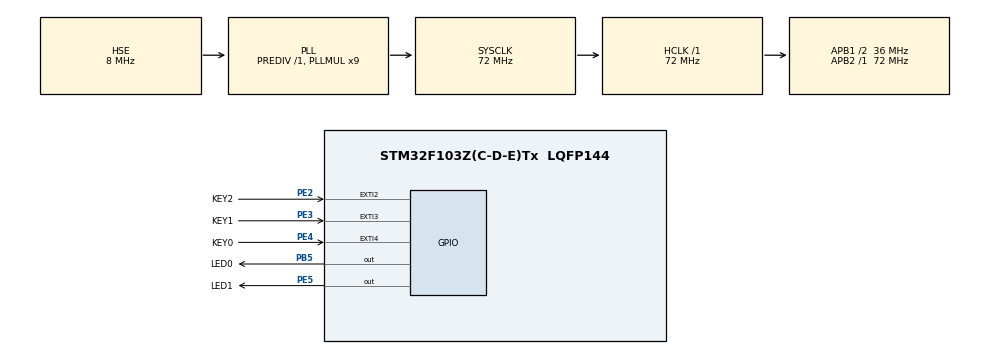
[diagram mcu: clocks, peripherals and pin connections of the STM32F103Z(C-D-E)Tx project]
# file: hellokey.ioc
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Mcu.Family=STM32F1
Mcu.Name=STM32F103Z(C-D-E)Tx
Mcu.Package=LQFP144
NVIC.EXTI2_IRQn=true\:0\:0\:false\:false\:true\:true\:true\:true
NVIC.EXTI3_IRQn=true\:0\:0\:false\:false\:true\:true\:true\:true
NVIC.EXTI4_IRQn=true\:0\:0\:false\:false\:true\:true\:true\:true
NVIC.PriorityGroup=NVIC_PRIORITYGROUP_4
OSC_IN.Mode=HSE-External-Oscillator
OSC_IN.Signal=RCC_OSC_IN
OSC_OUT.Mode=HSE-External-Oscillator
OSC_OUT.Signal=RCC_OSC_OUT
PA13.Mode=Serial_Wire
PA13.Signal=SYS_JTMS-SWDIO
PA14.Mode=Serial_Wire
PA14.Signal=SYS_JTCK-SWCLK
PB5.GPIO_Label=LED0
PB5.PinState=GPIO_PIN_SET
PB5.Signal=GPIO_Output
PC14-OSC32_IN.Mode=LSE-External-Oscillator
PC14-OSC32_IN.Signal=RCC_OSC32_IN
PC15-OSC32_OUT.Mode=LSE-External-Oscillator
PC15-OSC32_OUT.Signal=RCC_OSC32_OUT
PE2.GPIO_Label=KEY2
PE2.GPIO_ModeDefaultEXTI=GPIO_MODE_IT_FALLING
PE2.Signal=GPXTI2
PE3.GPIO_Label=KEY1
PE3.Signal=GPXTI3
PE4.GPIO_Label=KEY0
PE4.Signal=GPXTI4
PE5.GPIO_Label=LED1
PE5.PinState=GPIO_PIN_SET
PE5.Signal=GPIO_Output
ProjectManager.HeapSize=0x200
ProjectManager.StackSize=0x400
ProjectManager.TargetToolchain=Makefile
RCC.AHBFreq_Value=72000000
RCC.APB1CLKDivider=RCC_HCLK_DIV2
RCC.APB1Freq_Value=36000000
RCC.APB1TimFreq_Value=72000000
RCC.APB2Freq_Value=72000000
RCC.APB2TimFreq_Value=72000000
RCC.HCLKFreq_Value=72000000
RCC.PLLMUL=RCC_PLL_MUL9
RCC.PLLSourceVirtual=RCC_PLLSOURCE_HSE
RCC.SYSCLKFreq_VALUE=72000000
RCC.SYSCLKSource=RCC_SYSCLKSOURCE_PLLCLK
RCC.USBFreq_Value=72000000
board=custom

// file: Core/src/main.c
/* USER CODE BEGIN Header */
/**
  ******************************************************************************
  * @file           : main.c
  * @brief          : Main program body
  ******************************************************************************
  * @attention
  *
  * Copyright (c) 2025 STMicroelectronics.
  * All rights reserved.
  *
  * This software is licensed under terms that can be found in the LICENSE file
  * in the root directory of this software component.
  * If no LICENSE file comes with this software, it is provided AS-IS.
  *
  ******************************************************************************
  */
/* USER CODE END Header */
#include "main.h"
#include "gpio.h"

/* USER CODE BEGIN Includes */
#include "led.h"
#include "key.h"
#include "stm32f1xx_hal.h"
/* USER CODE END Includes */

void SystemClock_Config(void);

/* USER CODE BEGIN 0 */
  void HAL_GPIO_EXTI_Callback(uint16_t GPIO_Pin)
  {
      if (GPIO_Pin == KEY0_Pin)
      {
          LED0_on();
      }
      else if (GPIO_Pin == KEY1_Pin)
      {
          LED1_on();
      }
      else if (GPIO_Pin == KEY2_Pin)
      {
          LED0_off();
          LED1_off();
      }
  }

/* USER CODE END 0 */

int main(void)
{

  /* MCU Configuration--------------------------------------------------------*/

  /* Reset of all peripherals, Initializes the Flash interface and the Systick. */
  HAL_Init();

  /* Configure the system clock */
  SystemClock_Config();

  /* Initialize all configured peripherals */
  MX_GPIO_Init();
  /* USER CODE BEGIN 2 */
  LedCtrlTypeDef led_ctrl = {
      .state = LED_STATE_OFF,
      .last_tick = 0
  };

  /* USER CODE END 2 */

  /* Infinite loop */
  while (1)
  {

  }
}
void SystemClock_Config(void)
{
  RCC_OscInitTypeDef RCC_OscInitStruct = {0};
  RCC_ClkInitTypeDef RCC_ClkInitStruct = {0};

  /** Initializes the RCC Oscillators according to the specified parameters
  * in the RCC_OscInitTypeDef structure.
  */
  RCC_OscInitStruct.OscillatorType = RCC_OSCILLATORTYPE_HSE;
  RCC_OscInitStruct.HSEState = RCC_HSE_ON;
  RCC_OscInitStruct.HSEPredivValue = RCC_HSE_PREDIV_DIV1;
  RCC_OscInitStruct.HSIState = RCC_HSI_ON;
  RCC_OscInitStruct.PLL.PLLState = RCC_PLL_ON;
  RCC_OscInitStruct.PLL.PLLSource = RCC_PLLSOURCE_HSE;
  RCC_OscInitStruct.PLL.PLLMUL = RCC_PLL_MUL9;
  if (HAL_RCC_OscConfig(&RCC_OscInitStruct) != HAL_OK)
  {
    Error_Handler();
  }

  /** Initializes the CPU, AHB and APB buses clocks
  */
  RCC_ClkInitStruct.ClockType = RCC_CLOCKTYPE_HCLK|RCC_CLOCKTYPE_SYSCLK
                              |RCC_CLOCKTYPE_PCLK1|RCC_CLOCKTYPE_PCLK2;
  RCC_ClkInitStruct.SYSCLKSource = RCC_SYSCLKSOURCE_PLLCLK;
  RCC_ClkInitStruct.AHBCLKDivider = RCC_SYSCLK_DIV1;
  RCC_ClkInitStruct.APB1CLKDivider = RCC_HCLK_DIV2;
  RCC_ClkInitStruct.APB2CLKDivider = RCC_HCLK_DIV1;

  if (HAL_RCC_ClockConfig(&RCC_ClkInitStruct, FLASH_LATENCY_2) != HAL_OK)
  {
    Error_Handler();
  }
}

void Error_Handler(void)
{
  __disable_irq();
  while (1)
  {
  }
}
